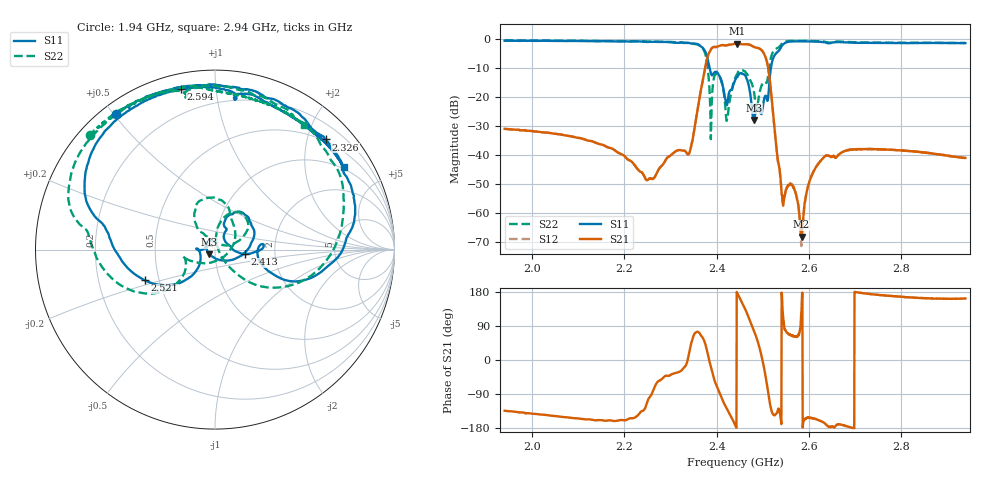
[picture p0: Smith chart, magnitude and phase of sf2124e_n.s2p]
# Hz S RI R 50
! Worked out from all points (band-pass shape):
!   1601 points, 1.94 GHz to 2.94 GHz, reference 50 ohm
!   highest |S21| = -1.57 dB at 2.444 GHz (marker M1); lowest = -68.3 dB at 2.584 GHz (marker M2)
!   |S21| within 3 dB of the highest: 2.384 GHz to 2.501 GHz (116.7 MHz wide, 4.78 % of centre)
!   lowest |S11| = -28.0 dB at 2.481 GHz (marker M3), VSWR 1.08, Z = 46.9 - j2.39 ohm
!   |S11| at or under -10 dB: 2.385 GHz to 2.518 GHz (132.9 MHz wide, 5.42 % of centre)
!   |S22| runs from -34.6 to -0.5 dB; largest |S21 - S12| = 0.0026
!   S11 on the Smith chart (normalised r, x): 1.94 GHz: 0.04, +0.51; 2.326 GHz: 0.46, +2.35; 2.413 GHz: 1.40, -0.07; 2.521 GHz: 0.42, -0.17; 2.594 GHz: 0.08, +0.81; 2.94 GHz: 0.95, +3.16
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1.94e9  -0.5507 0.7582  -0.0194 -0.0202  -0.0195 -0.0203  -0.6986 0.6362
2.106875e9  -0.1659 0.9099  -0.0174 -0.00796  -0.0175 -0.00789  -0.397 0.8426
2.27375e9  0.3787 0.8077  0.0031 -0.00453  0.00312 -0.00452  0.1245 0.8923
2.325625e9  0.6185 0.6138  0.0107 -0.00507  0.0107 -0.00506  0.4318 0.7532
2.34375e9  0.7132 0.4503  0.0101 0.00802  0.0101 0.00801  0.5701 0.6201
2.371875e9  0.6721 -0.0549  0.1348 0.1862  0.1346 0.1857  0.6541 -0.0102
2.388125e9  0.2435 -0.0535  0.6285 -0.2324  0.6287 -0.2318  0.0114 0.0241
2.4125e9  0.1675 -0.0251  -0.1927 -0.7632  -0.1934 -0.7637  0.1498 0.0643
2.42375e9  0.0497 0.0624  -0.5195 -0.5851  -0.5174 -0.5859  -0.002 0.0426
2.44e9  0.0657 0.1824  -0.8208 -0.1384  -0.8183 -0.1388  -0.1148 0.1756
2.44375e9  0.094 0.1965  -0.8344 0.00658  -0.8342 0.00611  -0.1113 0.2146
2.464375e9  0.2094 0.0504  -0.4996 0.6422  -0.4989 0.6426  0.059 0.2521
2.480625e9  -0.0309 -0.0254  0.1488 0.7168  0.1489 0.7174  0.1119 0.065
2.498125e9  -0.0509 0.0137  0.632 0.0854  0.6313 0.0858  -0.1501 -0.0565
2.52125e9  -0.3916 -0.171  -0.0525 -0.0432  -0.0524 -0.0432  -0.5388 -0.1897
2.543125e9  -0.726 0.3132  -0.00105 0.00107  -0.00101 0.00115  -0.8133 0.2607
2.56625e9  -0.4835 0.7726  0.00124 0.00242  0.00141 0.00246  -0.6554 0.6617
2.584375e9  -0.2775 0.8713  -0.000255 0.000289  -0.000174 0.000203  -0.5077 0.7828
2.59375e9  -0.1897 0.893  -0.00174 -0.000827  -0.00163 -0.000925  -0.4354 0.8187
2.606875e9  -0.0828 0.9043  -0.00403 -0.00202  -0.00396 -0.00213  -0.3533 0.8552
2.77375e9  0.4776 0.7067  -0.012 0.00229  -0.012 0.00226  0.1983 0.8445
2.94e9  0.717 0.4582  -0.00842 0.00266  -0.00842 0.00266  0.4984 0.6945
